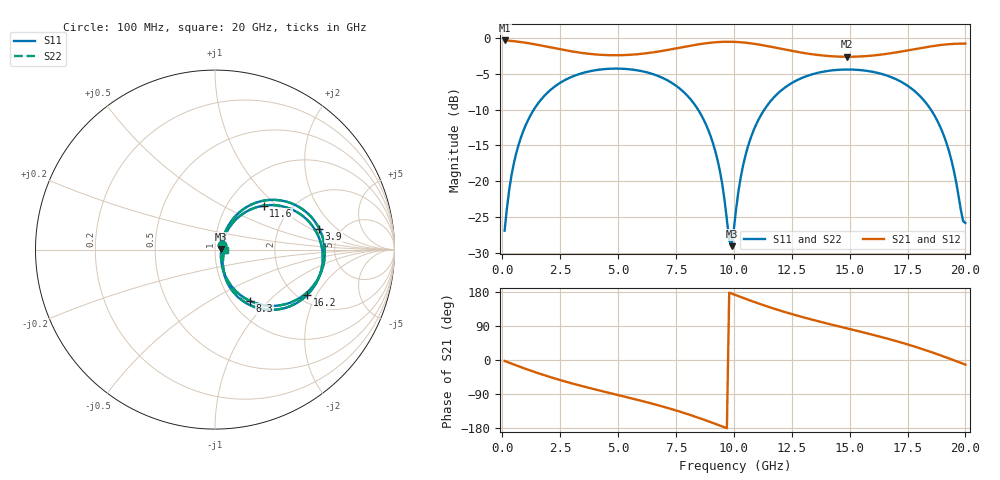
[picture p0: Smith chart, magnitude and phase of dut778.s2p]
! Touchstone file exported from HFSS 2026.1.0
!  File:  C:/ffzhzh/LocalFiles/Ansys_Project_Files/temp_train_TSV_RDL_778_1783210129_55132.aedt
!  Generated:  08:25:14 AM Jul  5, 2026
!  Design:  TSV_RDL
!  Project:  temp_train_TSV_RDL_778_1783210129_55132
! Variables:
!  h_bsmrdl = 5.2um
!  h_ox = 20um
!  h_rdl = 5um
!  h_sub = 80.16um
!  h_tmrdl = 2.29um
!  h_tsv = 80.16um
!  h_via = 3um
!  l_bsmrdl = 790.24um
!  l_sub = 6342.04um
!  l_tmrdl = 864.33um
!  m_sub = 200um
!  pitch = 52.81um
!  r_tsv = 5.67um
!  s_tmrdl = 10um
!  w_bsmrdl = 10.41um
!  w_sub = 500um
!  w_tmrdl = 27.59um
!  x_tsv_center1 = 878.125um
!  x_tsv_center2 = 1678.775um
!  x_tsv_center3 = 2570.695um
!  x_tsv_center4 = 3371.345um
!  x_tsv_center5 = 4263.265um
!  x_tsv_center6 = 5063.915um
# GHz S MA R 50.000000
! Terminal data exported
! Port[1] = TM_RDL1_1_T1
! Port[2] = TM_RDL5_1_T1
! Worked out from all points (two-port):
!   200 points, 100 MHz to 20 GHz, reference 50 ohm
!   highest |S21| = -0.32 dB at 100 MHz (marker M1); lowest = -2.6 dB at 14.9 GHz (marker M2)
!   |S21| within 3 dB of the highest: start of sweep to end of sweep
!   lowest |S11| = -29.1 dB at 9.9 GHz (marker M3), VSWR 1.07, Z = 53.6 + j0.301 ohm
!   |S11| at or under -10 dB: start of sweep to 1.362 GHz; 8.455 GHz to 11.32 GHz (2.862 GHz wide, 28.9 % of centre); 18.51 GHz to end of sweep
!   |S22| runs from -29.0 to -4.3 dB; largest |S21 - S12| = 1.7e-14
!   S11 on the Smith chart (normalised r, x): 100 MHz: 1.08, +0.05; 3.9 GHz: 3.43, +1.23; 8.3 GHz: 1.20, -0.78; 11.6 GHz: 1.46, +0.83; 16.2 GHz: 2.23, -1.68; 20 GHz: 1.11, -0.01
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0.1  0.04516 33.9  0.9633 -2.4  0.9633 -2.4  0.04516 33.9
! Gamma 0 0 0 0
! Port Impedance 50 0 50 0
0.5  0.1336 60.7  0.9519 -11.9  0.9519 -11.9  0.1336 60.7
1.1  0.2649 55.7  0.9235 -25.3  0.9235 -25.3  0.2649 55.7
2.2  0.4507 37.6  0.8541 -47.5  0.8541 -47.5  0.4506 37.7
3.5  0.5723 17.2  0.7857 -69.7  0.7857 -69.7  0.5723 17.2
3.9  0.5922 11.3  0.7726 -76.0  0.7726 -76.0  0.5922 11.4
5.3  0.6095 -8.5  0.7617 -97.0  0.7617 -97.0  0.6095 -8.5
6.8  0.5382 -30.8  0.8088 -120.6  0.8088 -120.6  0.5381 -30.7
8.3  0.3446 -55.9  0.8951 -148.8  0.8951 -148.8  0.3446 -55.9
9.2  0.1622 -68.4  0.9357 -168.5  0.9357 -168.5  0.1622 -68.4
9.9  0.03518 4.6  0.9433 175.4  0.9433 175.4  0.03528 4.6
10.1  0.06442 46.7  0.9407 170.8  0.9407 170.8  0.06447 46.7
10.7  0.1945 55.7  0.9212 157.1  0.9212 157.1  0.1945 55.7
11.6  0.3649 42.1  0.8702 138.1  0.8702 138.1  0.3649 42.2
13.4  0.5597 13.4  0.7708 106.2  0.7708 106.2  0.5597 13.5
14.9  0.6036 -8.0  0.741 83.3  0.741 83.3  0.6036 -7.8
16.2  0.5721 -26.3  0.7618 63.4  0.7618 63.4  0.5721 -26.2
16.7  0.5412 -33.8  0.7805 55.2  0.7805 55.2  0.5412 -33.6
17.8  0.4277 -51.1  0.8367 35.6  0.8367 35.6  0.4278 -50.8
18.8  0.2622 -66.5  0.8896 15.1  0.8896 15.1  0.2625 -66.0
19.3  0.1605 -70.0  0.9076 3.9  0.9076 3.9  0.1611 -69.2
20  0.05108 -5.1  0.9151 -12.2  0.9151 -12.2  0.05329 -5.2
